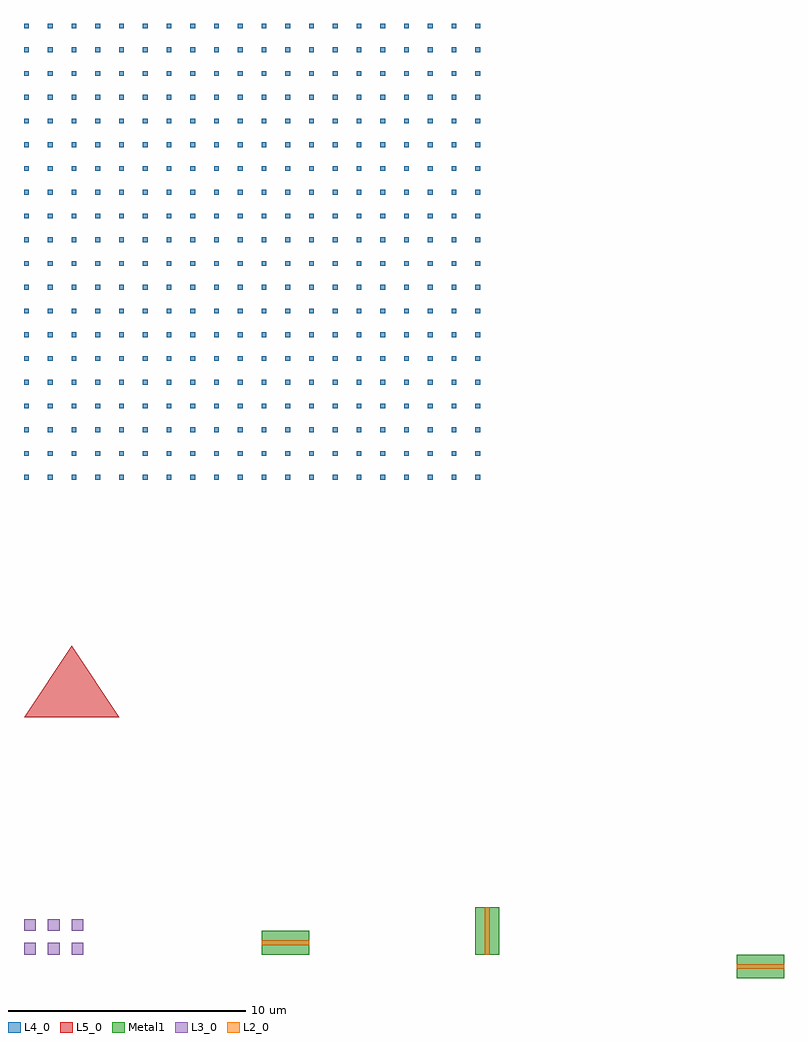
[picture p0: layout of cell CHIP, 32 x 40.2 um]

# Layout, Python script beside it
# Writes klayout_sample.oas, the layout test_layout_doc reads as another
# program's OASIS: KLayout 0.30.8's writer, compressed blocks, strict mode,
# its own repetitions (the 400 squares on 4/0), a property and a layer name.
#   klayout -b -r klayout_sample.py
# It prints what a flat view of CHIP has on each layer, which the test
# expects.
import pya
ly = pya.Layout()
ly.dbu = 0.001
top = ly.create_cell("CHIP")
inv = ly.create_cell("INV")
via = ly.create_cell("VIA1")
m1 = ly.layer(pya.LayerInfo(1, 0, "Metal1"))
m2 = ly.layer(2, 0)
v1 = ly.layer(3, 0)
m4 = ly.layer(4, 0)
p5 = ly.layer(5, 0)
txt = ly.layer(10, 0)
body = inv.shapes(m1).insert(pya.Box(0, 0, 2000, 1000))
body.set_property("net", "A")
inv.shapes(m2).insert(pya.Path([pya.Point(0, 500), pya.Point(2000, 500)], 200))
inv.shapes(txt).insert(pya.Text("OUT", 2000, 500))
via.shapes(v1).insert(pya.Box(0, 0, 500, 500))
top.insert(pya.CellInstArray(inv.cell_index(), pya.Trans(pya.Point(10000, 0))))
top.insert(pya.CellInstArray(inv.cell_index(), pya.Trans(pya.Trans.R90, pya.Vector(20000, 0))))
top.insert(pya.CellInstArray(inv.cell_index(), pya.Trans(pya.Trans.M0, pya.Vector(30000, 0))))
top.insert(pya.CellInstArray(via.cell_index(), pya.Trans(), pya.Vector(1000, 0), pya.Vector(0, 1000), 3, 2))
for i in range(20):
    for j in range(20):
        top.shapes(m4).insert(pya.Box(i * 1000, 20000 + j * 1000, i * 1000 + 200, 20200 + j * 1000))
top.shapes(p5).insert(pya.Polygon([pya.Point(0, 10000), pya.Point(4000, 10000), pya.Point(2000, 13000)]))
o = pya.SaveLayoutOptions()
o.format = "OASIS"
o.oasis_compression_level = 10
o.oasis_write_cblocks = True
o.oasis_strict_mode = True
o.oasis_write_std_properties = 1
ly.write("klayout_sample.oas", o)
g = pya.SaveLayoutOptions()
g.format = "GDS2"
ly.write("klayout_sample.gds", g)
# What a flat view has, per layer, for the test.
counts = {}
for li in ly.layer_indexes():
    info = ly.get_info(li)
    n = 0
    it = top.begin_shapes_rec(li)
    while not it.at_end():
        n += 1
        it.next()
    counts["%d/%d" % (info.layer, info.datatype)] = n
print(sorted(counts.items()))
print("bbox", top.dbbox())
